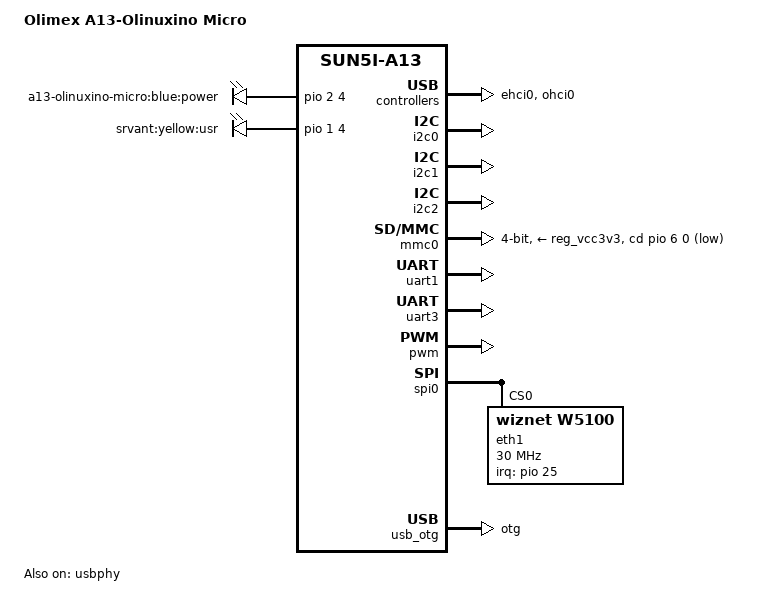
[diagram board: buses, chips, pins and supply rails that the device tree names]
/*
 * Copyright 2012 Maxime Ripard <maxime.ripard@free-electrons.com>
 * Copyright 2013 Hans de Goede <hdegoede@redhat.com>
 *
 * This file is dual-licensed: you can use it either under the terms
 * of the GPL or the X11 license, at your option. Note that this dual
 * licensing only applies to this file, and not this project as a
 * whole.
 *
 *  a) This file is free software; you can redistribute it and/or
 *     modify it under the terms of the GNU General Public License as
 *     published by the Free Software Foundation; either version 2 of the
 *     License, or (at your option) any later version.
 *
 *     This file is distributed in the hope that it will be useful,
 *     but WITHOUT ANY WARRANTY; without even the implied warranty of
 *     MERCHANTABILITY or FITNESS FOR A PARTICULAR PURPOSE.  See the
 *     GNU General Public License for more details.
 *
 * Or, alternatively,
 *
 *  b) Permission is hereby granted, free of charge, to any person
 *     obtaining a copy of this software and associated documentation
 *     files (the "Software"), to deal in the Software without
 *     restriction, including without limitation the rights to use,
 *     copy, modify, merge, publish, distribute, sublicense, and/or
 *     sell copies of the Software, and to permit persons to whom the
 *     Software is furnished to do so, subject to the following
 *     conditions:
 *
 *     The above copyright notice and this permission notice shall be
 *     included in all copies or substantial portions of the Software.
 *
 *     THE SOFTWARE IS PROVIDED "AS IS", WITHOUT WARRANTY OF ANY KIND,
 *     EXPRESS OR IMPLIED, INCLUDING BUT NOT LIMITED TO THE WARRANTIES
 *     OF MERCHANTABILITY, FITNESS FOR A PARTICULAR PURPOSE AND
 *     NONINFRINGEMENT. IN NO EVENT SHALL THE AUTHORS OR COPYRIGHT
 *     HOLDERS BE LIABLE FOR ANY CLAIM, DAMAGES OR OTHER LIABILITY,
 *     WHETHER IN AN ACTION OF CONTRACT, TORT OR OTHERWISE, ARISING
 *     FROM, OUT OF OR IN CONNECTION WITH THE SOFTWARE OR THE USE OR
 *     OTHER DEALINGS IN THE SOFTWARE.
 */

/dts-v1/;
#include "sun5i-a13.dtsi"
#include "sunxi-common-regulators.dtsi"

#include <dt-bindings/gpio/gpio.h>
#include <dt-bindings/interrupt-controller/irq.h>

/ {
	model = "Olimex A13-Olinuxino Micro";
	compatible = "olimex,a13-olinuxino-micro", "allwinner,sun5i-a13";

	aliases {
		serial0 = &uart1;
		serial3 = &uart3;

		i2c0 = "/soc@1c00000/i2c@1c2ac00";
		i2c1 = "/soc@1c00000/i2c@1c2b000";
		i2c2 = "/soc@1c00000/i2c@1c2b400";

        eth0 = &spi0;
	};

	chosen {
		stdout-path = "serial0:115200n8";
	};

	leds {
		compatible = "gpio-leds";
		pinctrl-names = "default";
		pinctrl-0 = <&led_pins_olinuxinom &leg_pins_srvant>;

		power {
			label = "a13-olinuxino-micro:blue:power";
			gpios = <&pio 2 4 GPIO_ACTIVE_HIGH>;
			linux,default-trigger = "heartbeat";
		};

		identify {
			label = "srvant:yellow:usr";
			gpios = <&pio 1 4 GPIO_ACTIVE_HIGH>;
			default-state = "on";
		};
	};
};

&ehci0 {
	status = "okay";
};

&i2c0 {
	status = "okay";
};

&i2c1 {
	status = "okay";
};

&i2c2 {
	status = "okay";
};

&mmc0 {
	vmmc-supply = <&reg_vcc3v3>;
	bus-width = <4>;
	cd-gpios = <&pio 6 0 GPIO_ACTIVE_LOW>; /* PG0 */
	status = "okay";
};

&ohci0 {
	status = "okay";
};

&otg_sram {
	status = "okay";
};

&pio {
	led_pins_olinuxinom: led-pin {
		pins = "PC4";
		function = "gpio_out";
		drive-strength = <20>;
	};
	leg_pins_srvant: led-pin {
		pins = "PB4";
		function = "gpio_out";
		drive-strength = <20>;
	};

	spi0_pc_pins: spi0-pc-pins {
		pins = "PC0", "PC1", "PC2";
		function = "spi0";
	};

	spi0_cs0_pc_pin: spi0-cs0-pc-pin {
		pins = "PC3";
		function = "spi0";
	};

};

&reg_usb0_vbus {
	gpio = <&pio 6 12 GPIO_ACTIVE_HIGH>;
	status = "okay";
};

&reg_usb1_vbus {
	gpio = <&pio 6 11 GPIO_ACTIVE_HIGH>;
	status = "okay";
};

&uart1 {
	pinctrl-names = "default";
	pinctrl-0 = <&uart1_pg_pins>;
	status = "okay";
};

&uart3 {
	pinctrl-names = "default";
	pinctrl-0 = <&uart3_pg_pins>;
	status = "okay";
};

&pwm {
	pinctrl-names = "default";
	pinctrl-0 = <&pwm0_pin>;
	status = "okay";
};

&spi0 {
    #address-cells = <1>;
    #size-cells = <0>;

    status = "okay";

    eth1: w5500@0{
        compatible = "wiznet,w5100";
        reg = <0>;
        pinctrl-names = "default";
        pinctrl-0 = <&spi0_pc_pins>, <&spi0_cs0_pc_pin>;
        interrupt-parent = <&pio>;
        interrupts = <25 0x8>;
        spi-max-frequency = <30000000>;
        local-mac-address = [ aa bb cc dd ee ff ];
        status = "okay";
    };
};


&usb_otg {
	dr_mode = "otg";
	status = "okay";
};

&usbphy {
	usb0_id_det-gpios = <&pio 6 2 (GPIO_ACTIVE_HIGH | GPIO_PULL_UP)>; /* PG2 */
	usb0_vbus_det-gpios = <&pio 6 1 (GPIO_ACTIVE_HIGH | GPIO_PULL_DOWN)>; /* PG1 */
	usb0_vbus-supply = <&reg_usb0_vbus>;
	usb1_vbus-supply = <&reg_usb1_vbus>;
	status = "okay";
};
